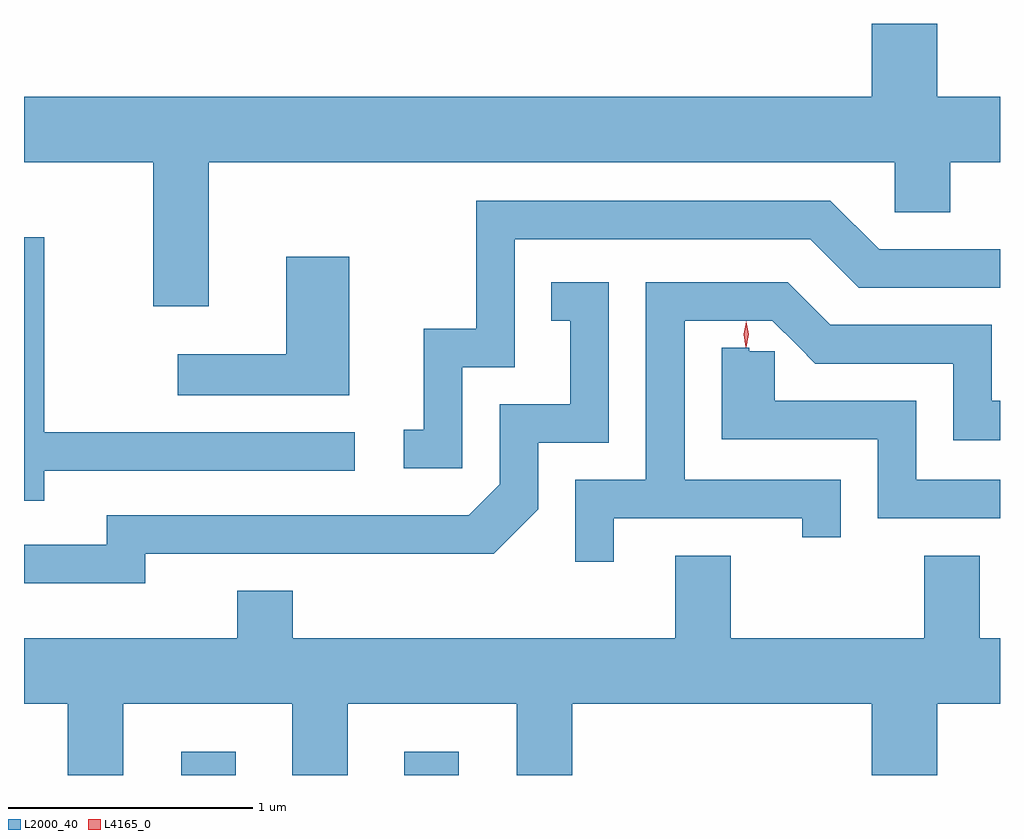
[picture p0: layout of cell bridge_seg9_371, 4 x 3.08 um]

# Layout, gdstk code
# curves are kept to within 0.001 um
import gdstk
lib = gdstk.Library(unit=1e-6, precision=1e-09)
def R(c, l, rs):  # rectangles x0, y0, x1, y1
    for r in rs: c.add(gdstk.rectangle(r[:2], r[2:], *l))
def P(c, l, *ps):  # polygons
    for p in ps: c.add(gdstk.Polygon(p, *l))
L2000_40 = (2000, 40)
L4165_0 = (4165, 0)

bridge_seg9_371 = lib.new_cell('bridge_seg9_371')
R(bridge_seg9_371, L2000_40, [(971.486,1989.303,971.709,1989.399), (972.401,1989.303,972.624,1989.399)])
P(bridge_seg9_371, L2000_40, [(971.599,1991.816),(974.411,1991.816),(974.411,1991.611),(974.639,1991.611),(974.639,1991.816),(974.842,1991.816),(974.842,1992.084),(974.584,1992.084),(974.584,1992.384),(974.316,1992.384),(974.316,1992.084),(970.842,1992.084),(970.842,1991.816),(971.371,1991.816),(971.371,1991.226),(971.599,1991.226)],
  [(972.639,1990.976),(972.854,1990.976),(972.854,1991.501),(974.064,1991.501),(974.264,1991.301),(974.842,1991.301),(974.842,1991.459),(974.347,1991.459),(974.147,1991.659),(972.696,1991.659),(972.696,1991.134),(972.481,1991.134),(972.481,1990.719),(972.398,1990.719),(972.398,1990.561),(972.639,1990.561)],
  [(970.924,1990.551),(972.198,1990.551),(972.198,1990.709),(970.924,1990.709),(970.924,1991.508),(970.842,1991.508),(970.842,1990.428),(970.924,1990.428)],
  [(972.174,1991.429),(971.916,1991.429),(971.916,1991.029),(971.473,1991.029),(971.473,1990.861),(972.174,1990.861)],
  [(971.339,1990.211),(972.767,1990.211),(972.949,1990.394),(972.949,1990.666),(973.239,1990.666),(973.239,1991.324),(973.003,1991.324),(973.003,1991.166),(973.081,1991.166),(973.081,1990.824),(972.791,1990.824),(972.791,1990.497),(972.664,1990.369),(971.181,1990.369),(971.181,1990.249),(970.842,1990.249),(970.842,1990.091),(971.339,1990.091)],
  [(973.259,1990.356),(974.031,1990.356),(974.031,1990.278),(974.189,1990.278),(974.189,1990.514),(973.549,1990.514),(973.549,1991.166),(973.909,1991.166),(974.084,1990.991),(974.651,1990.991),(974.651,1990.676),(974.842,1990.676),(974.842,1990.839),(974.809,1990.839),(974.809,1991.149),(974.147,1991.149),(973.972,1991.324),(973.391,1991.324),(973.391,1990.514),(973.101,1990.514),(973.101,1990.178),(973.259,1990.178)],
  [(974.842,1990.514),(974.499,1990.514),(974.499,1990.839),(973.918,1990.839),(973.918,1991.042),(973.815,1991.042),(973.815,1991.056),(973.701,1991.056),(973.701,1990.681),(974.341,1990.681),(974.341,1990.356),(974.842,1990.356)],
  [(971.249,1989.596),(971.941,1989.596),(971.941,1989.303),(972.169,1989.303),(972.169,1989.596),(972.861,1989.596),(972.861,1989.303),(973.089,1989.303),(973.089,1989.596),(974.316,1989.596),(974.316,1989.303),(974.584,1989.303),(974.584,1989.596),(974.842,1989.596),(974.842,1989.864),(974.759,1989.864),(974.759,1990.204),(974.531,1990.204),(974.531,1989.864),(973.739,1989.864),(973.739,1990.204),(973.511,1990.204),(973.511,1989.864),(971.944,1989.864),(971.944,1990.059),(971.716,1990.059),(971.716,1989.864),(970.842,1989.864),(970.842,1989.596),(971.021,1989.596),(971.021,1989.303),(971.249,1989.303)])
P(bridge_seg9_371, L4165_0, [(973.801,1991.058),(973.792,1991.11),(973.802,1991.163),(973.802,1991.164),(973.803,1991.163),(973.812,1991.11),(973.802,1991.058),(973.802,1991.058)],
  [(973.801,1991.06),(973.792,1991.11),(973.802,1991.16),(973.802,1991.161),(973.803,1991.16),(973.812,1991.11),(973.802,1991.06),(973.802,1991.06)])

lib.write_gds('bridge_seg9_371.gds')
